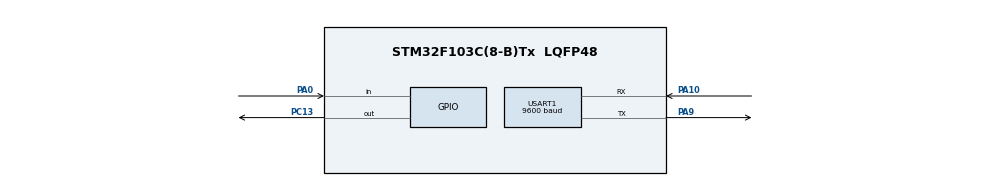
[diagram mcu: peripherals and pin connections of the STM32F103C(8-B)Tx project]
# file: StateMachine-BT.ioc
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Mcu.Family=STM32F1
Mcu.Name=STM32F103C(8-B)Tx
Mcu.Package=LQFP48
NVIC.PriorityGroup=NVIC_PRIORITYGROUP_4
NVIC.TIM2_IRQn=true\:0\:0\:false\:false\:true\:true\:true\:true
PA0-WKUP.Signal=GPIO_Input
PA10.Mode=Asynchronous
PA10.Signal=USART1_RX
PA13.Mode=Serial_Wire
PA13.Signal=SYS_JTMS-SWDIO
PA14.Mode=Serial_Wire
PA14.Signal=SYS_JTCK-SWCLK
PA9.Mode=Asynchronous
PA9.Signal=USART1_TX
PC13-TAMPER-RTC.Signal=GPIO_Output
PC14-OSC32_IN.Mode=LSE-External-Oscillator
PC14-OSC32_IN.Signal=RCC_OSC32_IN
PC15-OSC32_OUT.Mode=LSE-External-Oscillator
PC15-OSC32_OUT.Signal=RCC_OSC32_OUT
PD0-OSC_IN.Mode=HSE-External-Oscillator
PD0-OSC_IN.Signal=RCC_OSC_IN
PD1-OSC_OUT.Mode=HSE-External-Oscillator
PD1-OSC_OUT.Signal=RCC_OSC_OUT
ProjectManager.HeapSize=0x200
ProjectManager.StackSize=0x400
ProjectManager.TargetToolchain=STM32CubeIDE
RCC.APB1Freq_Value=8000000
RCC.APB2Freq_Value=8000000
TIM2.Period=2000
TIM2.Prescaler=10000
USART1.BaudRate=9600
USART1.VirtualMode=VM_ASYNC
VP_TIM2_VS_ClockSourceINT.Mode=Internal
board=custom

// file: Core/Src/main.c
/* USER CODE BEGIN Header */
/**
  ******************************************************************************
  * @file           : main.c
  * @brief          : Main program body
  ******************************************************************************
  * @attention
  *
  * Copyright (c) 2023 STMicroelectronics.
  * All rights reserved.
  *
  * This software is licensed under terms that can be found in the LICENSE file
  * in the root directory of this software component.
  * If no LICENSE file comes with this software, it is provided AS-IS.
  *
  ******************************************************************************
  */
/* USER CODE END Header */
#include "main.h"
#include "tim.h"
#include "usart.h"
#include "gpio.h"

/* USER CODE BEGIN PD */
// Habilitacion de debug para la impresion por el puerto serial ...
//----------------------------------------------

#define STATE_INIT        1
#define STATE_FREE        2
#define STATE_PUSH        3

#define EVENT_CONTINUE    1
#define EVENT_LED_ON      2
#define EVENT_LED_OFF     3
#define EVENT_BUTTON_FREE 4
#define EVENT_BUTTON_PUSH 5
#define EVENT_TIMEOUT     6

#define MAX_CANT_SENSORS 2
#define ACTUATOR_LED      0
#define SENSOR_BUTTON     1

#define LED_ON  '1'
#define LED_OFF '2'

#define FREE 0
#define PUSH 1

#define FALSE 0
#define TRUE  1

#define TIME_TIMEOUT 		  5
#define TIMEOUT_NOT_FULFILLED 1
#define TIMEOUT_COMPLETED 	  2

#define SERIAL_DEBUG_ENABLED 1

#if SERIAL_DEBUG_ENABLED
  #define DebugPrint(str)\
      {\
        send_uart(&huart1,"%s\r\n",str);\
      }
#else
  #define DebugPrint(str)
#endif

#define DebugPrintEstado(estado,evento)\
      {\
        DebugPrint("----------------------------");\
        DebugPrint(estado);\
        DebugPrint(evento);\
        DebugPrint("----------------------------");\
}

/* USER CODE END PD */

/* USER CODE BEGIN PV */

//----------------------------------------------
struct stSensor
{
  int  gpio_pin;
  GPIO_TypeDef*  gpio_char;
  int  state;
  long current_value;
  long previous_value;
};

struct stSensor sensors[MAX_CANT_SENSORS];

//----------------------------------------------

//----------------------------------------------
struct stEvento
{
  int type;
  int param1;
  int param2;
};

struct stEvento event;

int state;
int timeout;

int state_timeout=TIMEOUT_NOT_FULFILLED;

void sleep()
{
   int i=1000000;
   while(i-->0);
}

/* USER CODE END PV */

void SystemClock_Config(void);

/* USER CODE BEGIN 0 */

void led_off()
{
    HAL_GPIO_WritePin(GPIOC,GPIO_PIN_13,RESET);
}

void led_on()
{
	HAL_GPIO_WritePin(GPIOC,GPIO_PIN_13,SET);
	//HAL_GPIO_WritePin(GPIOC,sensors[ACTUATOR_LED].gpio_pin, SET);
}

int verify_state_button()
{
	sensors[SENSOR_BUTTON].current_value=HAL_GPIO_ReadPin(GPIOA,sensors[SENSOR_BUTTON].gpio_pin);

    int current_value =sensors[SENSOR_BUTTON].current_value;

    //myprintf(" ************************actual_boton:%d  prevoi_boton:%d\n",current_value,sensors[SENSOR_BUTTON].previous_value);

    int previous_value =sensors[SENSOR_BUTTON].previous_value;

    if(current_value!=previous_value)
    {
        //myprintf(" ************************actual_boton:%d  prevoi_boton:%d\n",current_value,sensors[SENSOR_BUTTON].previous_value);
        sensors[SENSOR_BUTTON].previous_value= current_value;

        if(current_value==PUSH)
        {
            //myprintf("\n*******************EVENT PUSH************\n");
            event.type=EVENT_BUTTON_PUSH;

        }
        return TRUE;
    }

    return FALSE;
}

int verify_state_bluetooth()
{
    uint8_t  receive_data=0;

	/* Capture the received byte and print it out. */
    HAL_UART_Receive(&huart1, &receive_data, sizeof(receive_data), 10);

	if(receive_data==LED_ON)
	{
		//myprintf("\n*******************PRENDE LED************\n");
		event.type=EVENT_LED_ON;
		return TRUE;
	}
	else if(receive_data==LED_OFF)
	{
		//myprintf("\n*******************APAGA LED************\n");
		event.type=EVENT_LED_OFF;
		return TRUE;
	}

    return FALSE;
}

void HAL_TIM_PeriodElapsedCallback(TIM_HandleTypeDef *htim)
{
	 if(htim->Instance==TIM2)
	 {
		 state_timeout=TIMEOUT_COMPLETED;
	 }
}

int verify_timeout()
{
    if(state_timeout==TIMEOUT_COMPLETED)
    {
        event.type=EVENT_TIMEOUT;
        state_timeout=TIMEOUT_NOT_FULFILLED;
        return TRUE;
    }

    return FALSE;
}

void get_event()
{
    if((verify_state_button()==TRUE || verify_state_bluetooth()==TRUE || verify_timeout()==TRUE))
    {
        return;
    }
    event.type=EVENT_CONTINUE;
}

void state_machine()
{
    get_event();

    switch(state)
    {
        case (STATE_INIT):
        {

            switch ( event.type)
            {
                case(EVENT_CONTINUE):
                {
                 //   DebugPrintEstado("INIT","CONTINUE");
                    led_off();
                    state=STATE_FREE;
                    break;
                }
                default:
               //     myprintf("Error\r\n");
                    break;
            }

        }
        break;
        case (STATE_FREE):
        {

            switch (event.type)
            {

                case(EVENT_LED_OFF):
                {
                    DebugPrintEstado("FREE","LED_OFF");
                    led_off();
                    break;
                }
                case(EVENT_LED_ON):
                {
                    DebugPrintEstado("FREE","LED_ON");
                    led_on();
                    break;
                }
                case(EVENT_BUTTON_PUSH):
                {
                    DebugPrintEstado("FREE","PUSH_BUTTON");

                    send_uart(&huart1,"Boton Presionado\r\n");
               //     send_byte('R');

                    //__HAL_TIM_SET_COUNTER(htim2, 0);
                    //HAL_TIM_Base_Start_IT(&htim2);

                    //HAL_TIM_Base_Stop_IT(&htim2);
                    //__HAL_TIM_SET_COUNTER(&htim2, 0);
                   // __HAL_TIM_CLEAR_FLAG(&htim2, TIM_FLAG_UPDATE);
                    HAL_TIM_Base_Start_IT(&htim2);

                    state=STATE_PUSH;
                    break;
                }
                case(EVENT_CONTINUE):
                {
                   // DebugPrintEstado("FREE","CONTINUE");
                    break;
                }
                default:
             //       myprintf("Error\r\n");
                    break;
            }

        }
        break;
        case (STATE_PUSH):
        {
            switch (event.type)
            {

                case(EVENT_LED_OFF):
                {
                    DebugPrintEstado("PUSH","LED_OFF");
                    led_off();
                    break;
                }
                case(EVENT_LED_ON):
                {
                    DebugPrintEstado("PUSH","LED_ON");
                    led_on();
                    break;
                }
                case(EVENT_BUTTON_PUSH):
                {
                    DebugPrintEstado("BUTTON_PUSH","EVENT_BUTTON_PUSH");
                    break;
                }
                case(EVENT_BUTTON_FREE):
                case(EVENT_TIMEOUT):
                {
                    DebugPrintEstado("BUTTON_PUSH","FREE");

                    send_uart(&huart1,"Boton Liberado\r\n");
                    //send_byte('F');

                    HAL_TIM_Base_Stop_IT(&htim2);

                    state=STATE_FREE;

                    break;
                }
                case(EVENT_CONTINUE):
                {
                    //DebugPrintEstado("PUSH","CONTINUE");
                    break;
                }
                default:
                    //myprintf("Error\r\n");
                    break;
            }

        }
        break;
    }

    event.type=EVENT_CONTINUE;
}

void do_init()
{

    state= STATE_INIT;

    sensors[ACTUATOR_LED].gpio_pin=(int)GPIO_PIN_13;
    sensors[ACTUATOR_LED].gpio_char=GPIOC;
    sensors[SENSOR_BUTTON].gpio_pin=(int)GPIO_PIN_0;
    sensors[SENSOR_BUTTON].gpio_char=GPIOA;

    timeout=FALSE;
}

/* USER CODE END 0 */

int main(void)
{

  /* MCU Configuration--------------------------------------------------------*/

  /* Reset of all peripherals, Initializes the Flash interface and the Systick. */
  HAL_Init();

  /* Configure the system clock */
  SystemClock_Config();

  /* Initialize all configured peripherals */
  MX_GPIO_Init();
  MX_USART1_UART_Init();
  MX_TIM2_Init();
  /* USER CODE BEGIN 2 */

  do_init();
  /* USER CODE END 2 */

  /* Infinite loop */
  /* USER CODE BEGIN WHILE */
  while (1)
  {

	  state_machine();
	  //sleep();
    /* USER CODE END WHILE */

  }
}

void SystemClock_Config(void)
{
  RCC_OscInitTypeDef RCC_OscInitStruct = {0};
  RCC_ClkInitTypeDef RCC_ClkInitStruct = {0};

  /** Initializes the RCC Oscillators according to the specified parameters
  * in the RCC_OscInitTypeDef structure.
  */
  RCC_OscInitStruct.OscillatorType = RCC_OSCILLATORTYPE_HSI;
  RCC_OscInitStruct.HSIState = RCC_HSI_ON;
  RCC_OscInitStruct.HSICalibrationValue = RCC_HSICALIBRATION_DEFAULT;
  RCC_OscInitStruct.PLL.PLLState = RCC_PLL_NONE;
  if (HAL_RCC_OscConfig(&RCC_OscInitStruct) != HAL_OK)
  {
    Error_Handler();
  }

  /** Initializes the CPU, AHB and APB buses clocks
  */
  RCC_ClkInitStruct.ClockType = RCC_CLOCKTYPE_HCLK|RCC_CLOCKTYPE_SYSCLK
                              |RCC_CLOCKTYPE_PCLK1|RCC_CLOCKTYPE_PCLK2;
  RCC_ClkInitStruct.SYSCLKSource = RCC_SYSCLKSOURCE_HSI;
  RCC_ClkInitStruct.AHBCLKDivider = RCC_SYSCLK_DIV1;
  RCC_ClkInitStruct.APB1CLKDivider = RCC_HCLK_DIV1;
  RCC_ClkInitStruct.APB2CLKDivider = RCC_HCLK_DIV1;

  if (HAL_RCC_ClockConfig(&RCC_ClkInitStruct, FLASH_LATENCY_0) != HAL_OK)
  {
    Error_Handler();
  }
}

void Error_Handler(void)
{
  __disable_irq();
  while (1)
  {
  }
}
